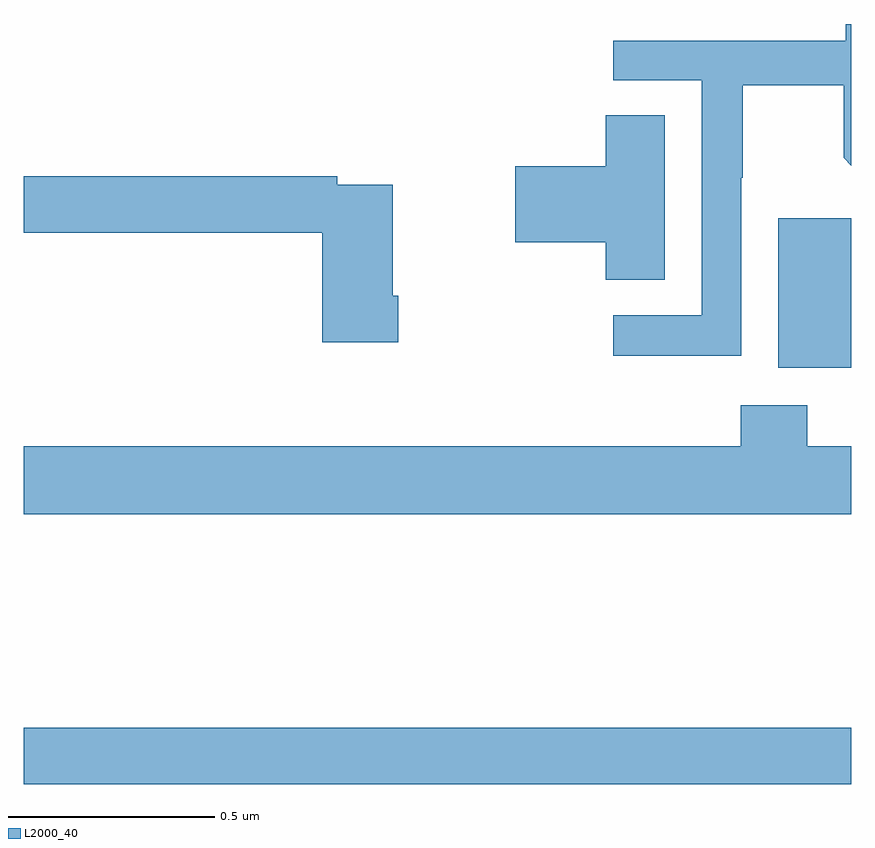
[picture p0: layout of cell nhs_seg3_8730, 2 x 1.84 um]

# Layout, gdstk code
import gdstk
lib = gdstk.Library(unit=1e-6, precision=1e-09)
def R(c, l, rs):  # rectangles x0, y0, x1, y1
    for r in rs: c.add(gdstk.rectangle(r[:2], r[2:], *l))
def P(c, l, *ps):  # polygons
    for p in ps: c.add(gdstk.Polygon(p, *l))
L2000_40 = (2000, 40)

nhs_seg3_8730 = lib.new_cell('nhs_seg3_8730')
R(nhs_seg3_8730, L2000_40, [(219,733.564,221,733.7), (220.823,734.57,221,734.931)])
P(nhs_seg3_8730, L2000_40, [(220.734,735.028),(220.737,735.028),(220.737,735.252),(220.981,735.252),(220.981,735.077),(221,735.058),(221,735.4),(220.986,735.4),(220.986,735.36),(220.425,735.36),(220.425,735.264),(220.638,735.264),(220.638,734.697),(220.425,734.697),(220.425,734.599),(220.734,734.599)],
  [(220.549,735.179),(220.406,735.179),(220.406,735.056),(220.188,735.056),(220.188,734.873),(220.406,734.873),(220.406,734.782),(220.549,734.782)],
  [(219.905,734.743),(219.892,734.743),(219.892,735.012),(219.758,735.012),(219.758,735.032),(219,735.032),(219,734.896),(219.722,734.896),(219.722,734.631),(219.905,734.631)],
  [(221,734.38),(220.893,734.38),(220.893,734.479),(220.733,734.479),(220.733,734.38),(219,734.38),(219,734.216),(221,734.216)])

lib.write_gds('nhs_seg3_8730.gds')
